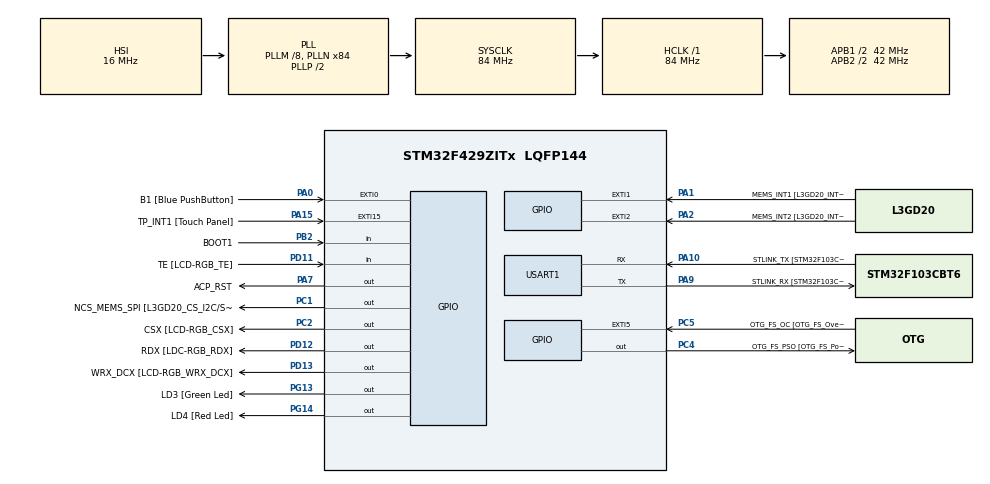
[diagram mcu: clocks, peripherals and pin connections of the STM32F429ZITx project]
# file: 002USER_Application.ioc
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Mcu.Family=STM32F4
Mcu.Name=STM32F429ZITx
Mcu.Package=LQFP144
NVIC.EXTI0_IRQn=true\:0\:0\:false\:false\:true\:true\:true
NVIC.PriorityGroup=NVIC_PRIORITYGROUP_0
PA0/WKUP.GPIO_Label=B1 [Blue PushButton]
PA0/WKUP.GPIO_ModeDefaultEXTI=GPIO_MODE_IT_RISING
PA0/WKUP.GPIO_PuPd=GPIO_NOPULL
PA0/WKUP.Signal=GPXTI0
PA1.GPIO_Label=MEMS_INT1 [L3GD20_INT1]
PA1.GPIO_ModeDefaultEXTI=GPIO_MODE_EVT_RISING
PA1.GPIO_PuPd=GPIO_NOPULL
PA1.Signal=GPXTI1
PA10.GPIO_Label=STLINK_TX [STM32F103CBT6_PA2]
PA10.Mode=Asynchronous
PA10.Signal=USART1_RX
PA11.GPIO_Label=R4
PA11.GPIO_Mode=GPIO_MODE_AF_PP
PA11.GPIO_PuPd=GPIO_NOPULL
PA11.GPIO_Speed=GPIO_SPEED_FREQ_LOW
PA11.Signal=LTDC_R4
PA12.GPIO_Label=R5
PA12.GPIO_Mode=GPIO_MODE_AF_PP
PA12.GPIO_PuPd=GPIO_NOPULL
PA12.GPIO_Speed=GPIO_SPEED_FREQ_LOW
PA12.Signal=LTDC_R5
PA13.GPIO_Label=SWDIO
PA13.Signal=SYS_JTMS-SWDIO
PA14.GPIO_Label=SWCLK
PA14.Signal=SYS_JTCK-SWCLK
PA15.GPIO_Label=TP_INT1 [Touch Panel]
PA15.GPIO_ModeDefaultEXTI=GPIO_MODE_EVT_RISING
PA15.GPIO_PuPd=GPIO_NOPULL
PA15.Signal=GPXTI15
PA2.GPIO_Label=MEMS_INT2 [L3GD20_INT2]
PA2.GPIO_ModeDefaultEXTI=GPIO_MODE_EVT_RISING
PA2.GPIO_PuPd=GPIO_NOPULL
PA2.Signal=GPXTI2
PA3.GPIO_Label=B5
PA3.GPIO_Mode=GPIO_MODE_AF_PP
PA3.GPIO_PuPd=GPIO_NOPULL
PA3.GPIO_Speed=GPIO_SPEED_FREQ_LOW
PA3.Signal=LTDC_B5
PA4.GPIO_Label=VSYNC
PA4.GPIO_Mode=GPIO_MODE_AF_PP
PA4.GPIO_PuPd=GPIO_NOPULL
PA4.GPIO_Speed=GPIO_SPEED_FREQ_LOW
PA4.Signal=LTDC_VSYNC
PA6.GPIO_Label=G2
PA6.GPIO_Mode=GPIO_MODE_AF_PP
PA6.GPIO_PuPd=GPIO_NOPULL
PA6.GPIO_Speed=GPIO_SPEED_FREQ_LOW
PA6.Signal=LTDC_G2
PA7.GPIO_Label=ACP_RST
PA7.GPIO_Mode=GPIO_MODE_OUTPUT_PP
PA7.GPIO_PuPd=GPIO_NOPULL
PA7.GPIO_Speed=GPIO_SPEED_FREQ_LOW
PA7.Signal=GPIO_Output
PA8.GPIO_Label=I2C3_SCL [ACP/RF_SCL]
PA8.GPIO_Mode=GPIO_MODE_AF_OD
PA8.GPIO_PuPd=GPIO_NOPULL
PA8.GPIO_Speed=GPIO_SPEED_FREQ_LOW
PA8.Signal=I2C3_SCL
PA9.GPIO_Label=STLINK_RX [STM32F103CBT6_PA3]
PA9.Mode=Asynchronous
PA9.Signal=USART1_TX
PB0.GPIO_Label=R3
PB0.GPIO_Mode=GPIO_MODE_AF_PP
PB0.GPIO_PuPd=GPIO_NOPULL
PB0.GPIO_Speed=GPIO_SPEED_FREQ_LOW
PB0.Signal=LTDC_R3
PB1.GPIO_Label=R6
PB1.GPIO_Mode=GPIO_MODE_AF_PP
PB1.GPIO_PuPd=GPIO_NOPULL
PB1.GPIO_Speed=GPIO_SPEED_FREQ_LOW
PB1.Signal=LTDC_R6
PB10.GPIO_Label=G4
PB10.GPIO_Mode=GPIO_MODE_AF_PP
PB10.GPIO_PuPd=GPIO_NOPULL
PB10.GPIO_Speed=GPIO_SPEED_FREQ_LOW
PB10.Signal=LTDC_G4
PB11.GPIO_Label=G5
PB11.GPIO_Mode=GPIO_MODE_AF_PP
PB11.GPIO_PuPd=GPIO_NOPULL
PB11.GPIO_Speed=GPIO_SPEED_FREQ_LOW
PB11.Signal=LTDC_G5
PB12.GPIO_Label=OTG_HS_ID
PB12.GPIO_Mode=GPIO_MODE_AF_PP
PB12.GPIO_PuPd=GPIO_NOPULL
PB12.GPIO_Speed=GPIO_SPEED_FREQ_LOW
PB12.Signal=USB_OTG_HS_ID
PB13.GPIO_Label=VBUS_HS
PB13.GPIO_Mode=GPIO_MODE_INPUT
PB13.GPIO_PuPd=GPIO_NOPULL
PB13.Signal=USB_OTG_HS_VBUS
PB14.GPIO_Label=OTG_HS_DM
PB14.GPIO_Mode=GPIO_MODE_AF_PP
PB14.GPIO_PuPd=GPIO_NOPULL
PB14.GPIO_Speed=GPIO_SPEED_FREQ_LOW
PB14.Signal=USB_OTG_HS_DM
PB15.GPIO_Label=OTG_HS_DP
PB15.GPIO_Mode=GPIO_MODE_AF_PP
PB15.GPIO_PuPd=GPIO_NOPULL
PB15.GPIO_Speed=GPIO_SPEED_FREQ_LOW
PB15.Signal=USB_OTG_HS_DP
PB2/BOOT1.GPIO_Label=BOOT1
PB2/BOOT1.GPIO_Mode=GPIO_MODE_INPUT
PB2/BOOT1.GPIO_PuPd=GPIO_NOPULL
PB2/BOOT1.Signal=GPIO_Input
PB5.GPIO_Label=SDCKE1
PB5.GPIO_Mode=GPIO_MODE_AF_PP
PB5.GPIO_PuPd=GPIO_NOPULL
PB5.GPIO_Speed=GPIO_SPEED_FREQ_VERY_HIGH
PB5.Signal=FMC_SDCKE1
PB6.GPIO_Label=SDNE1 [SDRAM_CS]
PB6.GPIO_Mode=GPIO_MODE_AF_PP
PB6.GPIO_PuPd=GPIO_NOPULL
PB6.GPIO_Speed=GPIO_SPEED_FREQ_VERY_HIGH
PB6.Signal=FMC_SDNE1
PB8.GPIO_Label=B6
PB8.GPIO_Mode=GPIO_MODE_AF_PP
PB8.GPIO_PuPd=GPIO_NOPULL
PB8.GPIO_Speed=GPIO_SPEED_FREQ_LOW
PB8.Signal=LTDC_B6
PB9.GPIO_Label=B7
PB9.GPIO_Mode=GPIO_MODE_AF_PP
PB9.GPIO_PuPd=GPIO_NOPULL
PB9.GPIO_Speed=GPIO_SPEED_FREQ_LOW
PB9.Signal=LTDC_B7
PC0.GPIO_Label=SDNWE
PC0.GPIO_Mode=GPIO_MODE_AF_PP
PC0.GPIO_PuPd=GPIO_NOPULL
PC0.GPIO_Speed=GPIO_SPEED_FREQ_VERY_HIGH
PC0.Signal=FMC_SDNWE
PC1.GPIO_Label=NCS_MEMS_SPI [L3GD20_CS_I2C/SPI]
PC1.GPIO_Mode=GPIO_MODE_OUTPUT_PP
PC1.GPIO_PuPd=GPIO_NOPULL
PC1.GPIO_Speed=GPIO_SPEED_FREQ_LOW
PC1.Signal=GPIO_Output
PC10.GPIO_Label=R2
PC10.GPIO_Mode=GPIO_MODE_AF_PP
PC10.GPIO_PuPd=GPIO_NOPULL
PC10.GPIO_Speed=GPIO_SPEED_FREQ_LOW
PC10.Signal=LTDC_R2
PC14/OSC32_IN.GPIO_Label=PC14-OSC32_IN
PC14/OSC32_IN.Signal=RCC_OSC32_IN
PC15/OSC32_OUT.GPIO_Label=PC15-OSC32_OUT
PC15/OSC32_OUT.Signal=RCC_OSC32_OUT
PC2.GPIO_Label=CSX [LCD-RGB_CSX]
PC2.GPIO_Mode=GPIO_MODE_OUTPUT_PP
PC2.GPIO_PuPd=GPIO_NOPULL
PC2.GPIO_Speed=GPIO_SPEED_FREQ_LOW
PC2.Signal=GPIO_Output
PC4.GPIO_Label=OTG_FS_PSO [OTG_FS_PowerSwitchOn]
PC4.GPIO_Mode=GPIO_MODE_OUTPUT_PP
PC4.GPIO_PuPd=GPIO_NOPULL
PC4.GPIO_Speed=GPIO_SPEED_FREQ_LOW
PC4.Signal=GPIO_Output
PC5.GPIO_Label=OTG_FS_OC [OTG_FS_OverCurrent]
PC5.GPIO_ModeDefaultEXTI=GPIO_MODE_EVT_RISING
PC5.Signal=GPXTI5
PC6.GPIO_Label=HSYNC
PC6.GPIO_Mode=GPIO_MODE_AF_PP
PC6.GPIO_PuPd=GPIO_NOPULL
PC6.GPIO_Speed=GPIO_SPEED_FREQ_LOW
PC6.Signal=LTDC_HSYNC
PC7.GPIO_Label=G6
PC7.GPIO_Mode=GPIO_MODE_AF_PP
PC7.GPIO_PuPd=GPIO_NOPULL
PC7.GPIO_Speed=GPIO_SPEED_FREQ_LOW
PC7.Signal=LTDC_G6
PC9.GPIO_Label=I2C3_SDA [ACP/RF_SDA]
PC9.GPIO_Mode=GPIO_MODE_AF_OD
PC9.GPIO_PuPd=GPIO_NOPULL
PC9.GPIO_Speed=GPIO_SPEED_FREQ_LOW
PC9.Signal=I2C3_SDA
PD0.GPIO_Label=D2
PD0.GPIO_Mode=GPIO_MODE_AF_PP
PD0.GPIO_PuPd=GPIO_NOPULL
PD0.GPIO_Speed=GPIO_SPEED_FREQ_VERY_HIGH
PD0.Signal=FMC_D2_DA2
PD1.GPIO_Label=D3
PD1.GPIO_Mode=GPIO_MODE_AF_PP
PD1.GPIO_PuPd=GPIO_NOPULL
PD1.GPIO_Speed=GPIO_SPEED_FREQ_VERY_HIGH
PD1.Signal=FMC_D3_DA3
PD10.GPIO_Label=D15
PD10.GPIO_Mode=GPIO_MODE_AF_PP
PD10.GPIO_PuPd=GPIO_NOPULL
PD10.GPIO_Speed=GPIO_SPEED_FREQ_VERY_HIGH
PD10.Signal=FMC_D15_DA15
PD11.GPIO_Label=TE [LCD-RGB_TE]
PD11.GPIO_Mode=GPIO_MODE_INPUT
PD11.GPIO_PuPd=GPIO_NOPULL
PD11.Signal=GPIO_Input
PD12.GPIO_Label=RDX [LDC-RGB_RDX]
PD12.GPIO_Mode=GPIO_MODE_OUTPUT_PP
PD12.GPIO_PuPd=GPIO_NOPULL
PD12.GPIO_Speed=GPIO_SPEED_FREQ_LOW
PD12.Signal=GPIO_Output
PD13.GPIO_Label=WRX_DCX [LCD-RGB_WRX_DCX]
PD13.GPIO_Mode=GPIO_MODE_OUTPUT_PP
PD13.GPIO_PuPd=GPIO_NOPULL
PD13.GPIO_Speed=GPIO_SPEED_FREQ_LOW
PD13.Signal=GPIO_Output
PD14.GPIO_Label=D0
PD14.GPIO_Mode=GPIO_MODE_AF_PP
PD14.GPIO_PuPd=GPIO_NOPULL
PD14.GPIO_Speed=GPIO_SPEED_FREQ_VERY_HIGH
PD14.Signal=FMC_D0_DA0
PD15.GPIO_Label=D1
PD15.GPIO_Mode=GPIO_MODE_AF_PP
PD15.GPIO_PuPd=GPIO_NOPULL
PD15.GPIO_Speed=GPIO_SPEED_FREQ_VERY_HIGH
PD15.Signal=FMC_D1_DA1
PD3.GPIO_Label=G7
PD3.GPIO_Mode=GPIO_MODE_AF_PP
PD3.GPIO_PuPd=GPIO_NOPULL
PD3.GPIO_Speed=GPIO_SPEED_FREQ_LOW
PD3.Signal=LTDC_G7
PD6.GPIO_Label=B2
PD6.GPIO_Mode=GPIO_MODE_AF_PP
PD6.GPIO_PuPd=GPIO_NOPULL
PD6.GPIO_Speed=GPIO_SPEED_FREQ_LOW
PD6.Signal=LTDC_B2
PD8.GPIO_Label=D13
PD8.GPIO_Mode=GPIO_MODE_AF_PP
PD8.GPIO_PuPd=GPIO_NOPULL
PD8.GPIO_Speed=GPIO_SPEED_FREQ_VERY_HIGH
PD8.Signal=FMC_D13_DA13
PD9.GPIO_Label=D14
PD9.GPIO_Mode=GPIO_MODE_AF_PP
PD9.GPIO_PuPd=GPIO_NOPULL
PD9.GPIO_Speed=GPIO_SPEED_FREQ_VERY_HIGH
PD9.Signal=FMC_D14_DA14
PE0.GPIO_Label=NBL0 [SDRAM_LDQM]
PE0.GPIO_Mode=GPIO_MODE_AF_PP
PE0.GPIO_PuPd=GPIO_NOPULL
PE0.GPIO_Speed=GPIO_SPEED_FREQ_VERY_HIGH
PE0.Signal=FMC_NBL0
PE1.GPIO_Label=NBL1 [SDRAM_UDQM]
PE1.GPIO_Mode=GPIO_MODE_AF_PP
PE1.GPIO_PuPd=GPIO_NOPULL
PE1.GPIO_Speed=GPIO_SPEED_FREQ_VERY_HIGH
PE1.Signal=FMC_NBL1
PE10.GPIO_Label=D7
PE10.GPIO_Mode=GPIO_MODE_AF_PP
PE10.GPIO_PuPd=GPIO_NOPULL
PE10.GPIO_Speed=GPIO_SPEED_FREQ_VERY_HIGH
PE10.Signal=FMC_D7_DA7
PE11.GPIO_Label=D8
PE11.GPIO_Mode=GPIO_MODE_AF_PP
PE11.GPIO_PuPd=GPIO_NOPULL
PE11.GPIO_Speed=GPIO_SPEED_FREQ_VERY_HIGH
PE11.Signal=FMC_D8_DA8
PE12.GPIO_Label=D9
PE12.GPIO_Mode=GPIO_MODE_AF_PP
PE12.GPIO_PuPd=GPIO_NOPULL
PE12.GPIO_Speed=GPIO_SPEED_FREQ_VERY_HIGH
PE12.Signal=FMC_D9_DA9
PE13.GPIO_Label=D10
PE13.GPIO_Mode=GPIO_MODE_AF_PP
PE13.GPIO_PuPd=GPIO_NOPULL
PE13.GPIO_Speed=GPIO_SPEED_FREQ_VERY_HIGH
PE13.Signal=FMC_D10_DA10
PE14.GPIO_Label=D11
PE14.GPIO_Mode=GPIO_MODE_AF_PP
PE14.GPIO_PuPd=GPIO_NOPULL
PE14.GPIO_Speed=GPIO_SPEED_FREQ_VERY_HIGH
PE14.Signal=FMC_D11_DA11
PE15.GPIO_Label=D12
PE15.GPIO_Mode=GPIO_MODE_AF_PP
PE15.GPIO_PuPd=GPIO_NOPULL
PE15.GPIO_Speed=GPIO_SPEED_FREQ_VERY_HIGH
PE15.Signal=FMC_D12_DA12
PE7.GPIO_Label=D4
PE7.GPIO_Mode=GPIO_MODE_AF_PP
PE7.GPIO_PuPd=GPIO_NOPULL
PE7.GPIO_Speed=GPIO_SPEED_FREQ_VERY_HIGH
PE7.Signal=FMC_D4_DA4
PE8.GPIO_Label=D5
PE8.GPIO_Mode=GPIO_MODE_AF_PP
PE8.GPIO_PuPd=GPIO_NOPULL
PE8.GPIO_Speed=GPIO_SPEED_FREQ_VERY_HIGH
PE8.Signal=FMC_D5_DA5
PE9.GPIO_Label=D6
PE9.GPIO_Mode=GPIO_MODE_AF_PP
PE9.GPIO_PuPd=GPIO_NOPULL
PE9.GPIO_Speed=GPIO_SPEED_FREQ_VERY_HIGH
PE9.Signal=FMC_D6_DA6
PF0.GPIO_Label=A0
PF0.GPIO_Mode=GPIO_MODE_AF_PP
PF0.GPIO_PuPd=GPIO_NOPULL
PF0.GPIO_Speed=GPIO_SPEED_FREQ_VERY_HIGH
PF0.Signal=FMC_A0
PF1.GPIO_Label=A1
PF1.GPIO_Mode=GPIO_MODE_AF_PP
PF1.GPIO_PuPd=GPIO_NOPULL
PF1.GPIO_Speed=GPIO_SPEED_FREQ_VERY_HIGH
PF1.Signal=FMC_A1
PF10.GPIO_Label=ENABLE [LCD-RGB_ENABLE]
PF10.GPIO_Mode=GPIO_MODE_AF_PP
PF10.GPIO_PuPd=GPIO_NOPULL
PF10.GPIO_Speed=GPIO_SPEED_FREQ_LOW
PF10.Signal=LTDC_DE
PF11.GPIO_Label=SDNRAS
PF11.GPIO_Mode=GPIO_MODE_AF_PP
PF11.GPIO_PuPd=GPIO_NOPULL
PF11.GPIO_Speed=GPIO_SPEED_FREQ_VERY_HIGH
PF11.Signal=FMC_SDNRAS
PF12.GPIO_Label=A6
PF12.GPIO_Mode=GPIO_MODE_AF_PP
PF12.GPIO_PuPd=GPIO_NOPULL
PF12.GPIO_Speed=GPIO_SPEED_FREQ_VERY_HIGH
PF12.Signal=FMC_A6
PF13.GPIO_Label=A7
PF13.GPIO_Mode=GPIO_MODE_AF_PP
PF13.GPIO_PuPd=GPIO_NOPULL
PF13.GPIO_Speed=GPIO_SPEED_FREQ_VERY_HIGH
PF13.Signal=FMC_A7
PF14.GPIO_Label=A8
PF14.GPIO_Mode=GPIO_MODE_AF_PP
PF14.GPIO_PuPd=GPIO_NOPULL
PF14.GPIO_Speed=GPIO_SPEED_FREQ_VERY_HIGH
PF14.Signal=FMC_A8
PF15.GPIO_Label=A9
PF15.GPIO_Mode=GPIO_MODE_AF_PP
PF15.GPIO_PuPd=GPIO_NOPULL
PF15.GPIO_Speed=GPIO_SPEED_FREQ_VERY_HIGH
PF15.Signal=FMC_A9
PF2.GPIO_Label=A2
PF2.GPIO_Mode=GPIO_MODE_AF_PP
PF2.GPIO_PuPd=GPIO_NOPULL
PF2.GPIO_Speed=GPIO_SPEED_FREQ_VERY_HIGH
PF2.Signal=FMC_A2
PF3.GPIO_Label=A3
PF3.GPIO_Mode=GPIO_MODE_AF_PP
PF3.GPIO_PuPd=GPIO_NOPULL
PF3.GPIO_Speed=GPIO_SPEED_FREQ_VERY_HIGH
PF3.Signal=FMC_A3
PF4.GPIO_Label=A4
PF4.GPIO_Mode=GPIO_MODE_AF_PP
PF4.GPIO_PuPd=GPIO_NOPULL
PF4.GPIO_Speed=GPIO_SPEED_FREQ_VERY_HIGH
PF4.Signal=FMC_A4
PF5.GPIO_Label=A5
PF5.GPIO_Mode=GPIO_MODE_AF_PP
PF5.GPIO_PuPd=GPIO_NOPULL
PF5.GPIO_Speed=GPIO_SPEED_FREQ_VERY_HIGH
PF5.Signal=FMC_A5
PF7.GPIO_Label=SPI5_SCK [L3GD20_SCL/SPC]
PF7.GPIO_Mode=GPIO_MODE_AF_PP
PF7.GPIO_PuPd=GPIO_NOPULL
PF7.GPIO_Speed=GPIO_SPEED_FREQ_LOW
PF7.Signal=SPI5_SCK
PF8.GPIO_Label=SPI5_MISO [L3GD20_SDO]
PF8.GPIO_Mode=GPIO_MODE_AF_PP
PF8.GPIO_PuPd=GPIO_NOPULL
PF8.GPIO_Speed=GPIO_SPEED_FREQ_LOW
PF8.Signal=SPI5_MISO
PF9.GPIO_Label=SPI5_MOSI [L3GD20_SDA/SDI/SDO]
PF9.GPIO_Mode=GPIO_MODE_AF_PP
PF9.GPIO_PuPd=GPIO_NOPULL
PF9.GPIO_Speed=GPIO_SPEED_FREQ_LOW
PF9.Signal=SPI5_MOSI
PG0.GPIO_Label=A10
PG0.GPIO_Mode=GPIO_MODE_AF_PP
PG0.GPIO_PuPd=GPIO_NOPULL
PG0.GPIO_Speed=GPIO_SPEED_FREQ_VERY_HIGH
PG0.Signal=FMC_A10
PG1.GPIO_Label=A11
PG1.GPIO_Mode=GPIO_MODE_AF_PP
PG1.GPIO_PuPd=GPIO_NOPULL
PG1.GPIO_Speed=GPIO_SPEED_FREQ_VERY_HIGH
PG1.Signal=FMC_A11
PG10.GPIO_Label=G3
PG10.GPIO_Mode=GPIO_MODE_AF_PP
PG10.GPIO_PuPd=GPIO_NOPULL
PG10.GPIO_Speed=GPIO_SPEED_FREQ_LOW
PG10.Signal=LTDC_G3
PG11.GPIO_Label=B3
PG11.GPIO_Mode=GPIO_MODE_AF_PP
PG11.GPIO_PuPd=GPIO_NOPULL
PG11.GPIO_Speed=GPIO_SPEED_FREQ_LOW
PG11.Signal=LTDC_B3
PG12.GPIO_Label=B4
PG12.GPIO_Mode=GPIO_MODE_AF_PP
PG12.GPIO_PuPd=GPIO_NOPULL
PG12.GPIO_Speed=GPIO_SPEED_FREQ_LOW
PG12.Signal=LTDC_B4
PG13.GPIO_Label=LD3 [Green Led]
PG13.GPIO_Mode=GPIO_MODE_OUTPUT_PP
PG13.GPIO_PuPd=GPIO_NOPULL
PG13.GPIO_Speed=GPIO_SPEED_FREQ_LOW
PG13.Signal=GPIO_Output
PG14.GPIO_Label=LD4 [Red Led]
PG14.GPIO_Mode=GPIO_MODE_OUTPUT_PP
PG14.GPIO_PuPd=GPIO_NOPULL
PG14.GPIO_Speed=GPIO_SPEED_FREQ_LOW
PG14.Signal=GPIO_Output
PG15.GPIO_Label=SDNCAS
PG15.GPIO_Mode=GPIO_MODE_AF_PP
PG15.GPIO_PuPd=GPIO_NOPULL
PG15.GPIO_Speed=GPIO_SPEED_FREQ_VERY_HIGH
PG15.Signal=FMC_SDNCAS
PG4.GPIO_Label=BA0
PG4.GPIO_Mode=GPIO_MODE_AF_PP
PG4.GPIO_PuPd=GPIO_NOPULL
PG4.GPIO_Speed=GPIO_SPEED_FREQ_VERY_HIGH
PG4.Signal=FMC_A14_BA0
PG5.GPIO_Label=BA1
PG5.GPIO_Mode=GPIO_MODE_AF_PP
PG5.GPIO_PuPd=GPIO_NOPULL
PG5.GPIO_Speed=GPIO_SPEED_FREQ_VERY_HIGH
PG5.Signal=FMC_A15_BA1
PG6.GPIO_Label=R7
PG6.GPIO_Mode=GPIO_MODE_AF_PP
PG6.GPIO_PuPd=GPIO_NOPULL
PG6.GPIO_Speed=GPIO_SPEED_FREQ_LOW
PG6.Signal=LTDC_R7
PG7.GPIO_Label=DOTCLK [LCT-RGB_DOTCLK]
PG7.GPIO_Mode=GPIO_MODE_AF_PP
PG7.GPIO_PuPd=GPIO_NOPULL
PG7.GPIO_Speed=GPIO_SPEED_FREQ_LOW
PG7.Signal=LTDC_CLK
PG8.GPIO_Label=SDCLK
PG8.GPIO_Mode=GPIO_MODE_AF_PP
PG8.GPIO_PuPd=GPIO_NOPULL
PG8.GPIO_Speed=GPIO_SPEED_FREQ_VERY_HIGH
PG8.Signal=FMC_SDCLK
PH0/OSC_IN.GPIO_Label=PH0-OSC_IN
PH0/OSC_IN.Signal=RCC_OSC_IN
PH1/OSC_OUT.GPIO_Label=PH1-OSC_OUT
PH1/OSC_OUT.Signal=RCC_OSC_OUT
ProjectManager.HeapSize=0x200
ProjectManager.StackSize=0x400
ProjectManager.TargetToolchain=STM32CubeIDE
RCC.48MHZClocksFreq_Value=24000000
RCC.AHBFreq_Value=84000000
RCC.APB1CLKDivider=RCC_HCLK_DIV2
RCC.APB1Freq_Value=42000000
RCC.APB1TimFreq_Value=84000000
RCC.APB2CLKDivider=RCC_HCLK_DIV2
RCC.APB2Freq_Value=42000000
RCC.APB2TimFreq_Value=84000000
RCC.CortexFreq_Value=84000000
RCC.HCLKFreq_Value=84000000
RCC.HSE_VALUE=8000000
RCC.HSI_VALUE=16000000
RCC.LSE_VALUE=32768
RCC.PLLM=8
RCC.PLLN=84
RCC.PLLQ=7
RCC.SYSCLKFreq_VALUE=84000000
RCC.SYSCLKSource=RCC_SYSCLKSOURCE_PLLCLK
RCC.VCOOutputFreq_Value=168000000
SH.FMC_A0.0=FMC_A0
SH.FMC_A1.0=FMC_A1
SH.FMC_A10.0=FMC_A10
SH.FMC_A11.0=FMC_A11
SH.FMC_A14_BA0.0=FMC_BA0
SH.FMC_A15_BA1.0=FMC_BA1
SH.FMC_A2.0=FMC_A2
SH.FMC_A3.0=FMC_A3
SH.FMC_A4.0=FMC_A4
SH.FMC_A5.0=FMC_A5
SH.FMC_A6.0=FMC_A6
SH.FMC_A7.0=FMC_A7
SH.FMC_A8.0=FMC_A8
SH.FMC_A9.0=FMC_A9
SH.FMC_D0_DA0.0=FMC_D0
SH.FMC_D10_DA10.0=FMC_D10
SH.FMC_D11_DA11.0=FMC_D11
SH.FMC_D12_DA12.0=FMC_D12
SH.FMC_D13_DA13.0=FMC_D13
SH.FMC_D14_DA14.0=FMC_D14
SH.FMC_D15_DA15.0=FMC_D15
SH.FMC_D1_DA1.0=FMC_D1
SH.FMC_D2_DA2.0=FMC_D2
SH.FMC_D3_DA3.0=FMC_D3
SH.FMC_D4_DA4.0=FMC_D4
SH.FMC_D5_DA5.0=FMC_D5
SH.FMC_D6_DA6.0=FMC_D6
SH.FMC_D7_DA7.0=FMC_D7
SH.FMC_D8_DA8.0=FMC_D8
SH.FMC_D9_DA9.0=FMC_D9
SH.FMC_NBL0.0=FMC_NBL0
SH.FMC_NBL1.0=FMC_NBL1
SH.FMC_SDCLK.0=FMC_SDCLK
SH.FMC_SDNCAS.0=FMC_SDNCAS
SH.FMC_SDNRAS.0=FMC_SDNRAS
SH.FMC_SDNWE.0=FMC_SDNWE
USART1.VirtualMode=VM_ASYNC
board=STM32F429I-DISC1

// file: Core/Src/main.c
/* USER CODE BEGIN Header */
/**
  ******************************************************************************
  * @file           : main.c
  * @brief          : Main program body
  ******************************************************************************
  * @attention
  *
  * <h2><center>&copy; Copyright (c) 2021 STMicroelectronics.
  * All rights reserved.</center></h2>
  *
  * This software component is licensed by ST under BSD 3-Clause license,
  * the "License"; You may not use this file except in compliance with the
  * License. You may obtain a copy of the License at:
  *                        opensource.org/licenses/BSD-3-Clause
  *
  ******************************************************************************
  */
/* USER CODE END Header */
#include "main.h"

/* USER CODE BEGIN Includes */
#include <stdio.h>
#include <stdarg.h>
#include <string.h>

/* USER CODE END Includes */

/* USER CODE BEGIN PD */

// Enable this line to get debug messages over debug UART
#define USER_DEBUG_MSG_EN

/* USER CODE END PD */

UART_HandleTypeDef huart1;

void SystemClock_Config(void);
static void MX_GPIO_Init(void);
static void MX_USART1_UART_Init(void);

int main(void)
{

  /* MCU Configuration--------------------------------------------------------*/

  /* Reset of all peripherals, Initializes the Flash interface and the Systick. */
  HAL_Init();

  /* Configure the system clock */
  SystemClock_Config();

  /* Initialize all configured peripherals */
  MX_GPIO_Init();
  MX_USART1_UART_Init();

  /* Infinite loop */
  /* USER CODE BEGIN WHILE */
  while (1)
  {

	  printmsg("USER_APP: Hello from USER Application\r\n");

	  printmsg("USER_APP: Current Tick : %d\r\n", HAL_GetTick());

	  HAL_Delay(1000);

	  // TODO
    /* USER CODE END WHILE */

  }
}

void SystemClock_Config(void)
{
  RCC_OscInitTypeDef RCC_OscInitStruct = {0};
  RCC_ClkInitTypeDef RCC_ClkInitStruct = {0};

  /** Configure the main internal regulator output voltage
  */
  __HAL_RCC_PWR_CLK_ENABLE();
  __HAL_PWR_VOLTAGESCALING_CONFIG(PWR_REGULATOR_VOLTAGE_SCALE3);
  /** Initializes the RCC Oscillators according to the specified parameters
  * in the RCC_OscInitTypeDef structure.
  */
  RCC_OscInitStruct.OscillatorType = RCC_OSCILLATORTYPE_HSI;
  RCC_OscInitStruct.HSIState = RCC_HSI_ON;
  RCC_OscInitStruct.HSICalibrationValue = RCC_HSICALIBRATION_DEFAULT;
  RCC_OscInitStruct.PLL.PLLState = RCC_PLL_ON;
  RCC_OscInitStruct.PLL.PLLSource = RCC_PLLSOURCE_HSI;
  RCC_OscInitStruct.PLL.PLLM = 8;
  RCC_OscInitStruct.PLL.PLLN = 84;
  RCC_OscInitStruct.PLL.PLLP = RCC_PLLP_DIV2;
  RCC_OscInitStruct.PLL.PLLQ = 7;
  if (HAL_RCC_OscConfig(&RCC_OscInitStruct) != HAL_OK)
  {
    Error_Handler();
  }
  /** Initializes the CPU, AHB and APB buses clocks
  */
  RCC_ClkInitStruct.ClockType = RCC_CLOCKTYPE_HCLK|RCC_CLOCKTYPE_SYSCLK
                              |RCC_CLOCKTYPE_PCLK1|RCC_CLOCKTYPE_PCLK2;
  RCC_ClkInitStruct.SYSCLKSource = RCC_SYSCLKSOURCE_PLLCLK;
  RCC_ClkInitStruct.AHBCLKDivider = RCC_SYSCLK_DIV1;
  RCC_ClkInitStruct.APB1CLKDivider = RCC_HCLK_DIV2;
  RCC_ClkInitStruct.APB2CLKDivider = RCC_HCLK_DIV2;

  if (HAL_RCC_ClockConfig(&RCC_ClkInitStruct, FLASH_LATENCY_2) != HAL_OK)
  {
    Error_Handler();
  }
}

static void MX_USART1_UART_Init(void)
{

  huart1.Instance = USART1;
  huart1.Init.BaudRate = 115200;
  huart1.Init.WordLength = UART_WORDLENGTH_8B;
  huart1.Init.StopBits = UART_STOPBITS_1;
  huart1.Init.Parity = UART_PARITY_NONE;
  huart1.Init.Mode = UART_MODE_TX_RX;
  huart1.Init.HwFlowCtl = UART_HWCONTROL_NONE;
  huart1.Init.OverSampling = UART_OVERSAMPLING_16;
  if (HAL_UART_Init(&huart1) != HAL_OK)
  {
    Error_Handler();
  }

}

static void MX_GPIO_Init(void)
{
  GPIO_InitTypeDef GPIO_InitStruct = {0};

  /* GPIO Ports Clock Enable */
  __HAL_RCC_GPIOC_CLK_ENABLE();
  __HAL_RCC_GPIOF_CLK_ENABLE();
  __HAL_RCC_GPIOH_CLK_ENABLE();
  __HAL_RCC_GPIOA_CLK_ENABLE();
  __HAL_RCC_GPIOB_CLK_ENABLE();
  __HAL_RCC_GPIOG_CLK_ENABLE();
  __HAL_RCC_GPIOE_CLK_ENABLE();
  __HAL_RCC_GPIOD_CLK_ENABLE();

  /*Configure GPIO pin Output Level */
  HAL_GPIO_WritePin(GPIOC, NCS_MEMS_SPI_Pin|CSX_Pin|OTG_FS_PSO_Pin, GPIO_PIN_RESET);

  /*Configure GPIO pin Output Level */
  HAL_GPIO_WritePin(ACP_RST_GPIO_Port, ACP_RST_Pin, GPIO_PIN_RESET);

  /*Configure GPIO pin Output Level */
  HAL_GPIO_WritePin(GPIOD, RDX_Pin|WRX_DCX_Pin, GPIO_PIN_RESET);

  /*Configure GPIO pin Output Level */
  HAL_GPIO_WritePin(GPIOG, LD3_Pin|LD4_Pin, GPIO_PIN_RESET);

  /*Configure GPIO pins : A0_Pin A1_Pin A2_Pin A3_Pin
                           A4_Pin A5_Pin SDNRAS_Pin A6_Pin
                           A7_Pin A8_Pin A9_Pin */
  GPIO_InitStruct.Pin = A0_Pin|A1_Pin|A2_Pin|A3_Pin
                          |A4_Pin|A5_Pin|SDNRAS_Pin|A6_Pin
                          |A7_Pin|A8_Pin|A9_Pin;
  GPIO_InitStruct.Mode = GPIO_MODE_AF_PP;
  GPIO_InitStruct.Pull = GPIO_NOPULL;
  GPIO_InitStruct.Speed = GPIO_SPEED_FREQ_VERY_HIGH;
  GPIO_InitStruct.Alternate = GPIO_AF12_FMC;
  HAL_GPIO_Init(GPIOF, &GPIO_InitStruct);

  /*Configure GPIO pins : SPI5_SCK_Pin SPI5_MISO_Pin SPI5_MOSI_Pin */
  GPIO_InitStruct.Pin = SPI5_SCK_Pin|SPI5_MISO_Pin|SPI5_MOSI_Pin;
  GPIO_InitStruct.Mode = GPIO_MODE_AF_PP;
  GPIO_InitStruct.Pull = GPIO_NOPULL;
  GPIO_InitStruct.Speed = GPIO_SPEED_FREQ_LOW;
  GPIO_InitStruct.Alternate = GPIO_AF5_SPI5;
  HAL_GPIO_Init(GPIOF, &GPIO_InitStruct);

  /*Configure GPIO pin : ENABLE_Pin */
  GPIO_InitStruct.Pin = ENABLE_Pin;
  GPIO_InitStruct.Mode = GPIO_MODE_AF_PP;
  GPIO_InitStruct.Pull = GPIO_NOPULL;
  GPIO_InitStruct.Speed = GPIO_SPEED_FREQ_LOW;
  GPIO_InitStruct.Alternate = GPIO_AF14_LTDC;
  HAL_GPIO_Init(ENABLE_GPIO_Port, &GPIO_InitStruct);

  /*Configure GPIO pin : SDNWE_Pin */
  GPIO_InitStruct.Pin = SDNWE_Pin;
  GPIO_InitStruct.Mode = GPIO_MODE_AF_PP;
  GPIO_InitStruct.Pull = GPIO_NOPULL;
  GPIO_InitStruct.Speed = GPIO_SPEED_FREQ_VERY_HIGH;
  GPIO_InitStruct.Alternate = GPIO_AF12_FMC;
  HAL_GPIO_Init(SDNWE_GPIO_Port, &GPIO_InitStruct);

  /*Configure GPIO pins : NCS_MEMS_SPI_Pin CSX_Pin OTG_FS_PSO_Pin */
  GPIO_InitStruct.Pin = NCS_MEMS_SPI_Pin|CSX_Pin|OTG_FS_PSO_Pin;
  GPIO_InitStruct.Mode = GPIO_MODE_OUTPUT_PP;
  GPIO_InitStruct.Pull = GPIO_NOPULL;
  GPIO_InitStruct.Speed = GPIO_SPEED_FREQ_LOW;
  HAL_GPIO_Init(GPIOC, &GPIO_InitStruct);

  /*Configure GPIO pin : B1_Pin */
  GPIO_InitStruct.Pin = B1_Pin;
  GPIO_InitStruct.Mode = GPIO_MODE_IT_RISING;
  GPIO_InitStruct.Pull = GPIO_NOPULL;
  HAL_GPIO_Init(B1_GPIO_Port, &GPIO_InitStruct);

  /*Configure GPIO pins : MEMS_INT1_Pin MEMS_INT2_Pin TP_INT1_Pin */
  GPIO_InitStruct.Pin = MEMS_INT1_Pin|MEMS_INT2_Pin|TP_INT1_Pin;
  GPIO_InitStruct.Mode = GPIO_MODE_EVT_RISING;
  GPIO_InitStruct.Pull = GPIO_NOPULL;
  HAL_GPIO_Init(GPIOA, &GPIO_InitStruct);

  /*Configure GPIO pins : B5_Pin VSYNC_Pin G2_Pin R4_Pin
                           R5_Pin */
  GPIO_InitStruct.Pin = B5_Pin|VSYNC_Pin|G2_Pin|R4_Pin
                          |R5_Pin;
  GPIO_InitStruct.Mode = GPIO_MODE_AF_PP;
  GPIO_InitStruct.Pull = GPIO_NOPULL;
  GPIO_InitStruct.Speed = GPIO_SPEED_FREQ_LOW;
  GPIO_InitStruct.Alternate = GPIO_AF14_LTDC;
  HAL_GPIO_Init(GPIOA, &GPIO_InitStruct);

  /*Configure GPIO pin : ACP_RST_Pin */
  GPIO_InitStruct.Pin = ACP_RST_Pin;
  GPIO_InitStruct.Mode = GPIO_MODE_OUTPUT_PP;
  GPIO_InitStruct.Pull = GPIO_NOPULL;
  GPIO_InitStruct.Speed = GPIO_SPEED_FREQ_LOW;
  HAL_GPIO_Init(ACP_RST_GPIO_Port, &GPIO_InitStruct);

  /*Configure GPIO pin : OTG_FS_OC_Pin */
  GPIO_InitStruct.Pin = OTG_FS_OC_Pin;
  GPIO_InitStruct.Mode = GPIO_MODE_EVT_RISING;
  GPIO_InitStruct.Pull = GPIO_NOPULL;
  HAL_GPIO_Init(OTG_FS_OC_GPIO_Port, &GPIO_InitStruct);

  /*Configure GPIO pins : R3_Pin R6_Pin */
  GPIO_InitStruct.Pin = R3_Pin|R6_Pin;
  GPIO_InitStruct.Mode = GPIO_MODE_AF_PP;
  GPIO_InitStruct.Pull = GPIO_NOPULL;
  GPIO_InitStruct.Speed = GPIO_SPEED_FREQ_LOW;
  GPIO_InitStruct.Alternate = GPIO_AF9_LTDC;
  HAL_GPIO_Init(GPIOB, &GPIO_InitStruct);

  /*Configure GPIO pin : BOOT1_Pin */
  GPIO_InitStruct.Pin = BOOT1_Pin;
  GPIO_InitStruct.Mode = GPIO_MODE_INPUT;
  GPIO_InitStruct.Pull = GPIO_NOPULL;
  HAL_GPIO_Init(BOOT1_GPIO_Port, &GPIO_InitStruct);

  /*Configure GPIO pins : A10_Pin A11_Pin BA0_Pin BA1_Pin
                           SDCLK_Pin SDNCAS_Pin */
  GPIO_InitStruct.Pin = A10_Pin|A11_Pin|BA0_Pin|BA1_Pin
                          |SDCLK_Pin|SDNCAS_Pin;
  GPIO_InitStruct.Mode = GPIO_MODE_AF_PP;
  GPIO_InitStruct.Pull = GPIO_NOPULL;
  GPIO_InitStruct.Speed = GPIO_SPEED_FREQ_VERY_HIGH;
  GPIO_InitStruct.Alternate = GPIO_AF12_FMC;
  HAL_GPIO_Init(GPIOG, &GPIO_InitStruct);

  /*Configure GPIO pins : D4_Pin D5_Pin D6_Pin D7_Pin
                           D8_Pin D9_Pin D10_Pin D11_Pin
                           D12_Pin NBL0_Pin NBL1_Pin */
  GPIO_InitStruct.Pin = D4_Pin|D5_Pin|D6_Pin|D7_Pin
                          |D8_Pin|D9_Pin|D10_Pin|D11_Pin
                          |D12_Pin|NBL0_Pin|NBL1_Pin;
  GPIO_InitStruct.Mode = GPIO_MODE_AF_PP;
  GPIO_InitStruct.Pull = GPIO_NOPULL;
  GPIO_InitStruct.Speed = GPIO_SPEED_FREQ_VERY_HIGH;
  GPIO_InitStruct.Alternate = GPIO_AF12_FMC;
  HAL_GPIO_Init(GPIOE, &GPIO_InitStruct);

  /*Configure GPIO pins : G4_Pin G5_Pin B6_Pin B7_Pin */
  GPIO_InitStruct.Pin = G4_Pin|G5_Pin|B6_Pin|B7_Pin;
  GPIO_InitStruct.Mode = GPIO_MODE_AF_PP;
  GPIO_InitStruct.Pull = GPIO_NOPULL;
  GPIO_InitStruct.Speed = GPIO_SPEED_FREQ_LOW;
  GPIO_InitStruct.Alternate = GPIO_AF14_LTDC;
  HAL_GPIO_Init(GPIOB, &GPIO_InitStruct);

  /*Configure GPIO pins : OTG_HS_ID_Pin OTG_HS_DM_Pin OTG_HS_DP_Pin */
  GPIO_InitStruct.Pin = OTG_HS_ID_Pin|OTG_HS_DM_Pin|OTG_HS_DP_Pin;
  GPIO_InitStruct.Mode = GPIO_MODE_AF_PP;
  GPIO_InitStruct.Pull = GPIO_NOPULL;
  GPIO_InitStruct.Speed = GPIO_SPEED_FREQ_LOW;
  GPIO_InitStruct.Alternate = GPIO_AF12_OTG_HS_FS;
  HAL_GPIO_Init(GPIOB, &GPIO_InitStruct);

  /*Configure GPIO pin : VBUS_HS_Pin */
  GPIO_InitStruct.Pin = VBUS_HS_Pin;
  GPIO_InitStruct.Mode = GPIO_MODE_INPUT;
  GPIO_InitStruct.Pull = GPIO_NOPULL;
  HAL_GPIO_Init(VBUS_HS_GPIO_Port, &GPIO_InitStruct);

  /*Configure GPIO pins : D13_Pin D14_Pin D15_Pin D0_Pin
                           D1_Pin D2_Pin D3_Pin */
  GPIO_InitStruct.Pin = D13_Pin|D14_Pin|D15_Pin|D0_Pin
                          |D1_Pin|D2_Pin|D3_Pin;
  GPIO_InitStruct.Mode = GPIO_MODE_AF_PP;
  GPIO_InitStruct.Pull = GPIO_NOPULL;
  GPIO_InitStruct.Speed = GPIO_SPEED_FREQ_VERY_HIGH;
  GPIO_InitStruct.Alternate = GPIO_AF12_FMC;
  HAL_GPIO_Init(GPIOD, &GPIO_InitStruct);

  /*Configure GPIO pin : TE_Pin */
  GPIO_InitStruct.Pin = TE_Pin;
  GPIO_InitStruct.Mode = GPIO_MODE_INPUT;
  GPIO_InitStruct.Pull = GPIO_NOPULL;
  HAL_GPIO_Init(TE_GPIO_Port, &GPIO_InitStruct);

  /*Configure GPIO pins : RDX_Pin WRX_DCX_Pin */
  GPIO_InitStruct.Pin = RDX_Pin|WRX_DCX_Pin;
  GPIO_InitStruct.Mode = GPIO_MODE_OUTPUT_PP;
  GPIO_InitStruct.Pull = GPIO_NOPULL;
  GPIO_InitStruct.Speed = GPIO_SPEED_FREQ_LOW;
  HAL_GPIO_Init(GPIOD, &GPIO_InitStruct);

  /*Configure GPIO pins : R7_Pin DOTCLK_Pin B3_Pin */
  GPIO_InitStruct.Pin = R7_Pin|DOTCLK_Pin|B3_Pin;
  GPIO_InitStruct.Mode = GPIO_MODE_AF_PP;
  GPIO_InitStruct.Pull = GPIO_NOPULL;
  GPIO_InitStruct.Speed = GPIO_SPEED_FREQ_LOW;
  GPIO_InitStruct.Alternate = GPIO_AF14_LTDC;
  HAL_GPIO_Init(GPIOG, &GPIO_InitStruct);

  /*Configure GPIO pins : HSYNC_Pin G6_Pin R2_Pin */
  GPIO_InitStruct.Pin = HSYNC_Pin|G6_Pin|R2_Pin;
  GPIO_InitStruct.Mode = GPIO_MODE_AF_PP;
  GPIO_InitStruct.Pull = GPIO_NOPULL;
  GPIO_InitStruct.Speed = GPIO_SPEED_FREQ_LOW;
  GPIO_InitStruct.Alternate = GPIO_AF14_LTDC;
  HAL_GPIO_Init(GPIOC, &GPIO_InitStruct);

  /*Configure GPIO pin : I2C3_SDA_Pin */
  GPIO_InitStruct.Pin = I2C3_SDA_Pin;
  GPIO_InitStruct.Mode = GPIO_MODE_AF_OD;
  GPIO_InitStruct.Pull = GPIO_NOPULL;
  GPIO_InitStruct.Speed = GPIO_SPEED_FREQ_LOW;
  GPIO_InitStruct.Alternate = GPIO_AF4_I2C3;
  HAL_GPIO_Init(I2C3_SDA_GPIO_Port, &GPIO_InitStruct);

  /*Configure GPIO pin : I2C3_SCL_Pin */
  GPIO_InitStruct.Pin = I2C3_SCL_Pin;
  GPIO_InitStruct.Mode = GPIO_MODE_AF_OD;
  GPIO_InitStruct.Pull = GPIO_NOPULL;
  GPIO_InitStruct.Speed = GPIO_SPEED_FREQ_LOW;
  GPIO_InitStruct.Alternate = GPIO_AF4_I2C3;
  HAL_GPIO_Init(I2C3_SCL_GPIO_Port, &GPIO_InitStruct);

  /*Configure GPIO pins : G7_Pin B2_Pin */
  GPIO_InitStruct.Pin = G7_Pin|B2_Pin;
  GPIO_InitStruct.Mode = GPIO_MODE_AF_PP;
  GPIO_InitStruct.Pull = GPIO_NOPULL;
  GPIO_InitStruct.Speed = GPIO_SPEED_FREQ_LOW;
  GPIO_InitStruct.Alternate = GPIO_AF14_LTDC;
  HAL_GPIO_Init(GPIOD, &GPIO_InitStruct);

  /*Configure GPIO pins : G3_Pin B4_Pin */
  GPIO_InitStruct.Pin = G3_Pin|B4_Pin;
  GPIO_InitStruct.Mode = GPIO_MODE_AF_PP;
  GPIO_InitStruct.Pull = GPIO_NOPULL;
  GPIO_InitStruct.Speed = GPIO_SPEED_FREQ_LOW;
  GPIO_InitStruct.Alternate = GPIO_AF9_LTDC;
  HAL_GPIO_Init(GPIOG, &GPIO_InitStruct);

  /*Configure GPIO pins : LD3_Pin LD4_Pin */
  GPIO_InitStruct.Pin = LD3_Pin|LD4_Pin;
  GPIO_InitStruct.Mode = GPIO_MODE_OUTPUT_PP;
  GPIO_InitStruct.Pull = GPIO_NOPULL;
  GPIO_InitStruct.Speed = GPIO_SPEED_FREQ_LOW;
  HAL_GPIO_Init(GPIOG, &GPIO_InitStruct);

  /*Configure GPIO pins : SDCKE1_Pin SDNE1_Pin */
  GPIO_InitStruct.Pin = SDCKE1_Pin|SDNE1_Pin;
  GPIO_InitStruct.Mode = GPIO_MODE_AF_PP;
  GPIO_InitStruct.Pull = GPIO_NOPULL;
  GPIO_InitStruct.Speed = GPIO_SPEED_FREQ_VERY_HIGH;
  GPIO_InitStruct.Alternate = GPIO_AF12_FMC;
  HAL_GPIO_Init(GPIOB, &GPIO_InitStruct);

  /* EXTI interrupt init*/
  HAL_NVIC_SetPriority(EXTI0_IRQn, 0, 0);
  HAL_NVIC_EnableIRQ(EXTI0_IRQn);

}

/* USER CODE BEGIN 4 */

/* Prints formatted string to console over UART */
void printmsg(char *format, ...)
{
#ifdef USER_DEBUG_MSG_EN
	char str[100];
	/* Extract the argument list using VA API */
	va_list args;
	va_start(args, format);
	vsprintf(str, format, args);
	HAL_UART_Transmit(&huart1, (uint8_t*)str, strlen(str), HAL_MAX_DELAY);
	va_end(args);
#endif
}

/* USER CODE END 4 */

void Error_Handler(void)
{
  __disable_irq();
  while (1)
  {
  }
}

/************************ (C) COPYRIGHT STMicroelectronics *****END OF FILE****/
